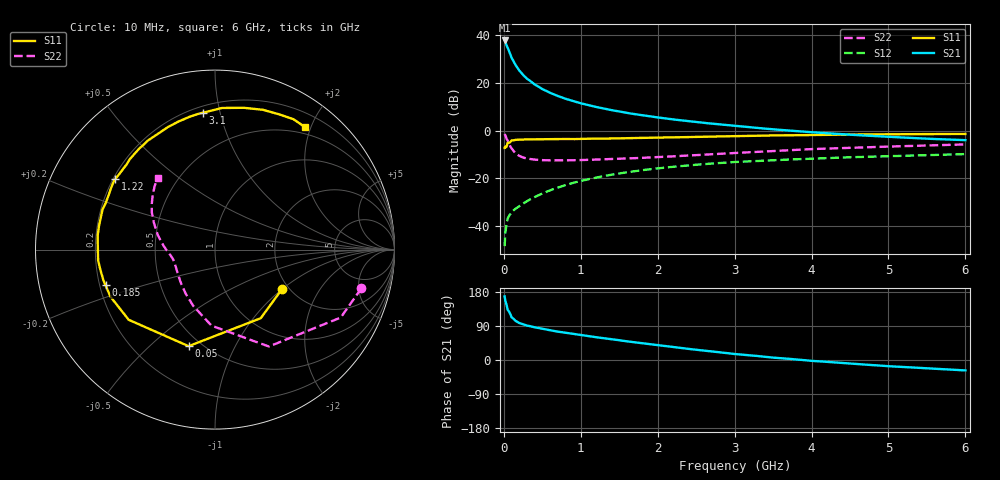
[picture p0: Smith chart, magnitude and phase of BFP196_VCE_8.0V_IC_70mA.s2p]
! Infineon Technologies  Discrete & RF Semiconductors
! BFP196
! VCE = 8.0 V,  IC =  70mA
! Common Emitter S-Parameters:  Jan 2016
# GHz  S  MA  R  50
!  f  S11  S21  S12  S22
! GHz  MAG  ANG  MAG  ANG  MAG  ANG  MAG  ANG
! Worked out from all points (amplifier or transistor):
!   210 points, 10 MHz to 6 GHz, reference 50 ohm
!   highest |S21| = 37.7 dB at 10 MHz (marker M1)
!   |S21| within 3 dB of that: start of sweep to 48.66 MHz
!   unconditionally stable (mu >= 1): 458 MHz to 4.86 GHz
!   at 185 MHz: K = 0.72, MSG = 29.0 dB, |S12| = -32.0 dB
!   at 1.52 GHz: K = 1.09, MAG = 11.1 dB, |S12| = -17.9 dB
!   at 6 GHz: K = 0.98, MSG = 2.9 dB, |S12| = -9.9 dB
!   S11 on the Smith chart (normalised r, x): 10 MHz: 1.86, -1.00; 50 MHz: 0.43, -0.67; 185 MHz: 0.22, -0.15; 1.22 GHz: 0.21, +0.30; 3.1 GHz: 0.24, +0.89; 6 GHz: 0.40, +1.92
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0.01  0.434 -30.1  76.71 167.7  0.0038 78.7  0.8438 -14.8
0.02  0.4594 -56.3  71.14 156.1  0.0074 71.5  0.7961 -28.4
0.05  0.5578 -105.3  53.75 132.4  0.0145 56.2  0.6179 -60.9
0.1  0.6199 -140.9  33.53 112.8  0.0196 48.3  0.4243 -92.6
0.15  0.6388 -155.8  23.59 103.3  0.023 48.7  0.337 -110.9
0.185  0.6415 -161.9  19.72 99.6  0.0251 50.3  0.3067 -119.2
0.2  0.6448 -164.5  18.09 97.6  0.026 50.9  0.296 -123.2
0.24  0.6478 -169.4  15.22 94.5  0.0289 53.5  0.2764 -130.4
0.26  0.6499 -171.5  14.05 93.1  0.0303 54.7  0.2696 -133.6
0.3  0.6539 -174.9  12.19 90.8  0.0331 56.7  0.2599 -138.6
0.4  0.6539 177.9  9.226 86.2  0.0406 59.6  0.2459 -147.9
0.5  0.6584 173.1  7.371 82.3  0.0478 61.3  0.2399 -154.0
0.6  0.6596 168.2  6.163 78.5  0.0559 61.8  0.2376 -158.2
0.8  0.6653 160.3  4.632 71.9  0.0721 61.7  0.2386 -163.9
1.02  0.6677 151.7  3.652 65.3  0.0896 60.2  0.2414 -168.2
1.22  0.6807 144.9  3.064 59.6  0.1053 58.3  0.2471 -171.4
1.6  0.6921 133.3  2.333 49.2  0.1338 53.2  0.2606 -176.4
2.02  0.7135 121.4  1.86 38.7  0.1627 47.0  0.2789 177.8
3.1  0.7658 95.0  1.209 14.1  0.223 31.3  0.3448 161.8
4.1  0.8086 77.0  0.899 -3.5  0.2612 18.6  0.4138 148.3
5.1  0.8361 63.5  0.726 -17.4  0.2937 7.6  0.4663 137.7
6  0.8473 53.5  0.629 -27.5  0.3211 -2.2  0.5122 128.7
